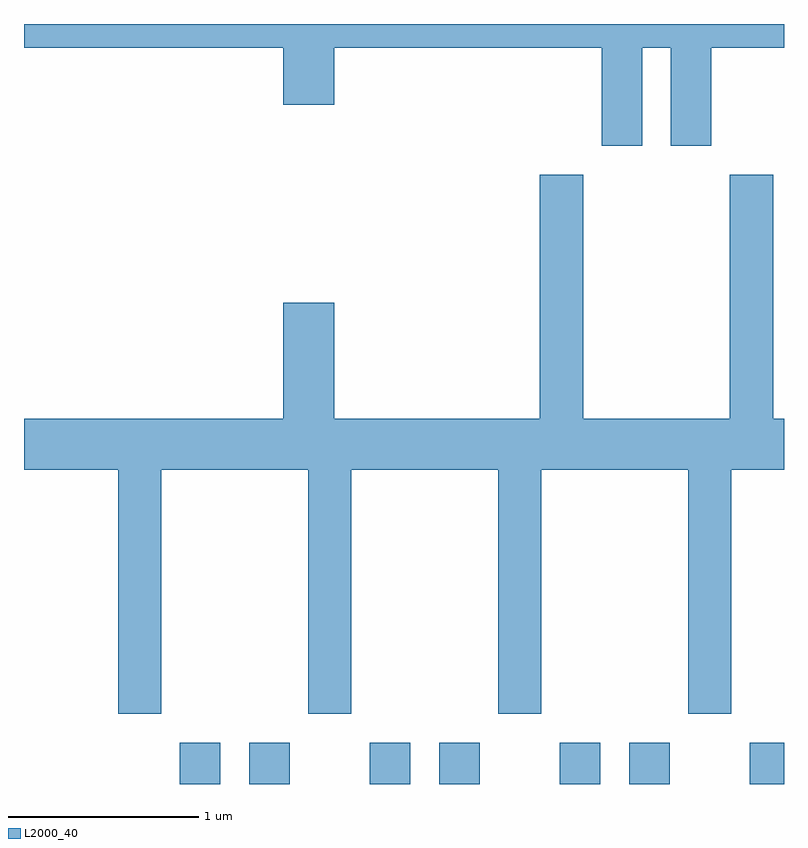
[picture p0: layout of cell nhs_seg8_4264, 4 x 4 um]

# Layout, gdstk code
import gdstk
lib = gdstk.Library(unit=1e-6, precision=1e-09)
def R(c, l, rs):  # rectangles x0, y0, x1, y1
    for r in rs: c.add(gdstk.rectangle(r[:2], r[2:], *l))
def P(c, l, *ps):  # polygons
    for p in ps: c.add(gdstk.Polygon(p, *l))
L2000_40 = (2000, 40)

nhs_seg8_4264 = lib.new_cell('nhs_seg8_4264')
R(nhs_seg8_4264, L2000_40, [(314.431,1810.342,314.644,1810.559), (314.796,1810.342,315.009,1810.559), (315.431,1810.342,315.644,1810.559), (315.796,1810.342,316.009,1810.559), (316.431,1810.342,316.644,1810.559), (316.796,1810.342,317.009,1810.559), (317.431,1810.342,317.611,1810.559)])
P(nhs_seg8_4264, L2000_40, [(316.864,1814.216),(317.016,1814.216),(317.016,1813.701),(317.229,1813.701),(317.229,1814.216),(317.611,1814.216),(317.611,1814.342),(313.611,1814.342),(313.611,1814.216),(314.976,1814.216),(314.976,1813.916),(315.244,1813.916),(315.244,1814.216),(316.651,1814.216),(316.651,1813.701),(316.864,1813.701)],
  [(314.334,1811.996),(315.106,1811.996),(315.106,1810.711),(315.334,1810.711),(315.334,1811.996),(316.106,1811.996),(316.106,1810.711),(316.334,1810.711),(316.334,1811.996),(317.106,1811.996),(317.106,1810.711),(317.334,1810.711),(317.334,1811.996),(317.611,1811.996),(317.611,1812.264),(317.554,1812.264),(317.554,1813.549),(317.326,1813.549),(317.326,1812.264),(316.554,1812.264),(316.554,1813.549),(316.326,1813.549),(316.326,1812.264),(315.244,1812.264),(315.244,1812.874),(314.976,1812.874),(314.976,1812.264),(313.611,1812.264),(313.611,1811.996),(314.106,1811.996),(314.106,1810.711),(314.334,1810.711)])

lib.write_gds('nhs_seg8_4264.gds')
